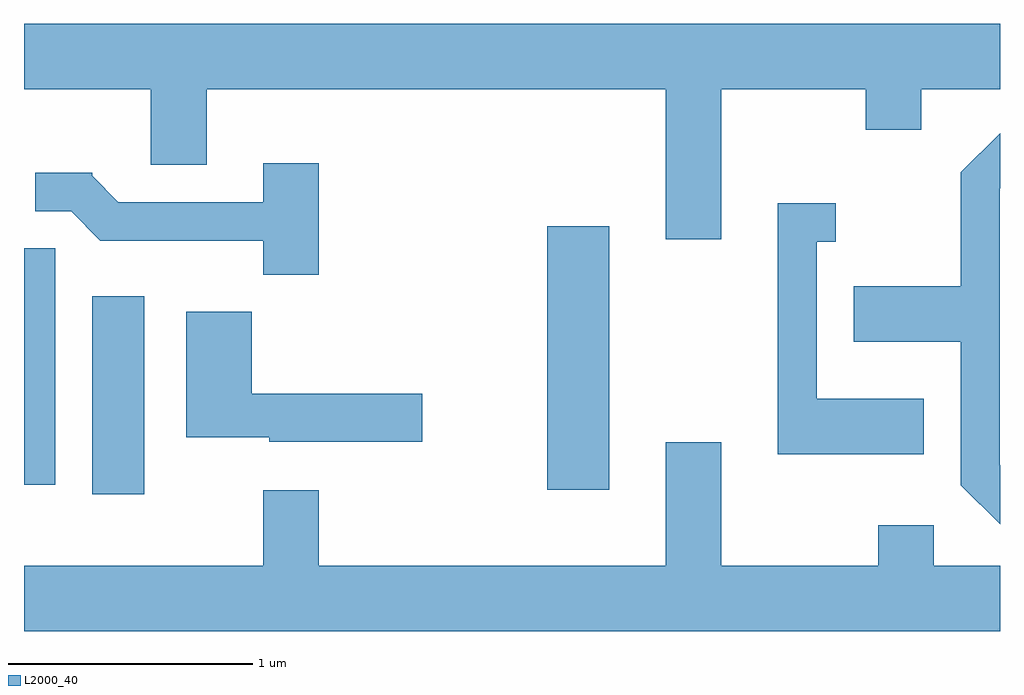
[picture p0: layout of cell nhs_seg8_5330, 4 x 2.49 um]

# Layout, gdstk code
import gdstk
lib = gdstk.Library(unit=1e-6, precision=1e-09)
def R(c, l, rs):  # rectangles x0, y0, x1, y1
    for r in rs: c.add(gdstk.rectangle(r[:2], r[2:], *l))
def P(c, l, *ps):  # polygons
    for p in ps: c.add(gdstk.Polygon(p, *l))
L2000_40 = (2000, 40)

nhs_seg8_5330 = lib.new_cell('nhs_seg8_5330')
R(nhs_seg8_5330, L2000_40, [(345.891,1819.216,346.104,1820.029), (347.756,1819.236,348.009,1820.314), (345.611,1819.256,345.739,1820.224)])
P(nhs_seg8_5330, L2000_40, [(348.469,1820.876),(349.061,1820.876),(349.061,1820.711),(349.289,1820.711),(349.289,1820.876),(349.611,1820.876),(349.611,1821.144),(345.611,1821.144),(345.611,1820.876),(346.131,1820.876),(346.131,1820.566),(346.359,1820.566),(346.359,1820.876),(348.241,1820.876),(348.241,1820.261),(348.469,1820.261)],
  [(349.611,1819.335),(349.609,1819.337),(349.609,1820.469),(349.611,1820.471),(349.611,1820.696),(349.451,1820.537),(349.451,1820.069),(349.011,1820.069),(349.011,1819.841),(349.451,1819.841),(349.451,1819.254),(349.611,1819.094)],
  [(346.819,1820.574),(346.591,1820.574),(346.591,1820.414),(345.997,1820.414),(345.89,1820.521),(345.89,1820.534),(345.658,1820.534),(345.658,1820.376),(345.804,1820.376),(345.924,1820.256),(346.591,1820.256),(346.591,1820.116),(346.819,1820.116)],
  [(349.299,1819.609),(348.859,1819.609),(348.859,1820.251),(348.938,1820.251),(348.938,1820.409),(348.701,1820.409),(348.701,1819.381),(349.299,1819.381)],
  [(347.244,1819.629),(346.544,1819.629),(346.544,1819.964),(346.276,1819.964),(346.276,1819.451),(346.616,1819.451),(346.616,1819.431),(347.244,1819.431)],
  [(349.611,1818.924),(349.339,1818.924),(349.339,1819.089),(349.111,1819.089),(349.111,1818.924),(348.469,1818.924),(348.469,1819.429),(348.241,1819.429),(348.241,1818.924),(346.819,1818.924),(346.819,1819.234),(346.591,1819.234),(346.591,1818.924),(345.611,1818.924),(345.611,1818.656),(349.611,1818.656)])

lib.write_gds('nhs_seg8_5330.gds')
